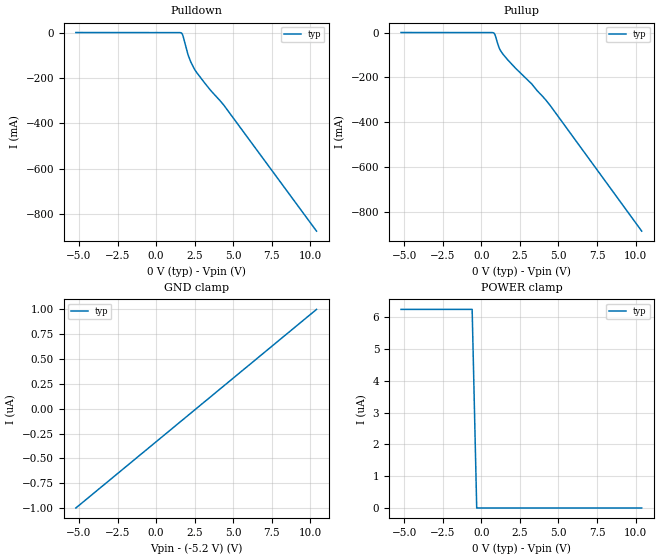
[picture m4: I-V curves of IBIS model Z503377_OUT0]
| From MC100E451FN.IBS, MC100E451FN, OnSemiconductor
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| (C) COPYRIGHT 1993-2000
| MENTOR GRAPHICS CORPORATION
| ICX STANDARD LIBRARY, ICX PROJECT MODELING,
| ICX CUSTOM MODELING, ICX VENDOR MODEL
| ALL RIGHTS RESERVED.
| THE FOLLOWING ARE TRADEMARKS OR SERVICE MARKS OF
| MENTOR GRAPHICS CORPORATION:ICX (R), ICX STANDARD
| LIBRARY(R), ICX PROJECT MODELING(R), ICX CUSTOM
| MODELING(R), qualityIBIS(TM), MODELVIEWER(TM),
| AND MODELEDITOR(TM)
| ALL COPIES OF SOFTWARE, INCLUDING BUT NOT LIMITED TO
| ANY MODIFICATIONS, ENHANCEMENTS OR DERIVATIVE WORKS,
| MUST CONTAIN ALL MENTOR GRAPHICS CORPORATION'S
| NOTICES AND LEGENDS, INCLUDING THOSE EMBEDDED IN
| SOFTWARE AND THOSE AFFIXED TO SOFTWARE MEDIUM
| AND CONTAINER, AS RECEIVED FROM MENTOR GRAPHICS
| CORPORATION.
| Model Application Version 1.89 2/18/99.
[Model] Z503377_OUT0
Model_type Output_ECL
Vref=-2.000V
Rref=50.00ohms
Cref=0.000F
Vmeas=-1.320V
C_comp 8.000pF NA NA
| variable typ   min   max
[Voltage Range] -5.200V NA NA
[POWER Clamp Reference] 0.000V NA NA
[Pullup Reference] 0.000V NA NA
[Pulldown Reference] 0.000V NA NA
[GND Clamp Reference] -5.200V NA NA
[GND Clamp]
-5.2V     -1uA       NA         NA
10.4V     1uA        NA         NA
[Pulldown]
-5.2V     471.9uA    NA         NA
1.66V     -2.628mA   NA         NA
1.763V    -18.83mA   NA         NA
2.071V    -97.8mA    NA         NA
2.256V    -130.4mA   NA         NA
2.627V    -175.5mA   NA         NA
3.574V    -257.8mA   NA         NA
4.371V    -318.1mA   NA         NA
10.4V     -875.5mA   NA         NA
[Pullup]
-5.2V     329.6uA    NA         NA
823.9mV   -2.399mA   NA         NA
927.8mV   -17.13mA   NA         NA
1.069V    -50.72mA   NA         NA
1.168V    -69.63mA   NA         NA
1.416V    -97.45mA   NA         NA
2.207V    -158.3mA   NA         NA
3.271V    -229.7mA   NA         NA
4.462V    -325.5mA   NA         NA
10.4V     -887.7mA   NA         NA
[POWER Clamp]
-5.2V     6.251uA    NA         NA
-590.8mV  6.251uA    NA         NA
-295.4mV  0A         NA         NA
10.4V     0A         NA         NA
[Ramp]
| variable typ min max
dV/dt_r 448.4m/248.0p NA NA
dV/dt_f 448.4m/154.4p NA NA
R_load = 50.00Ohms
